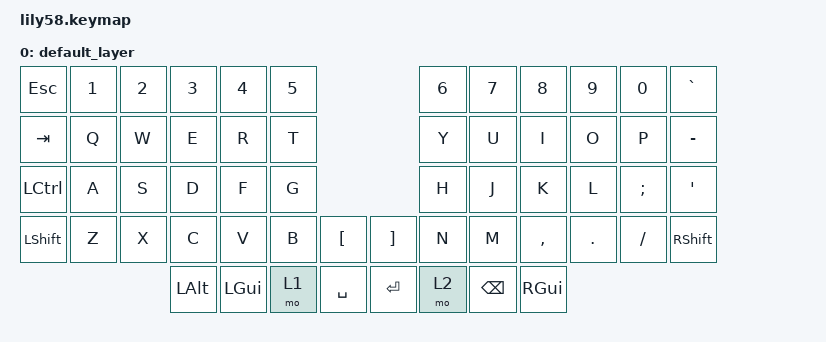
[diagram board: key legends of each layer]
/*
 * Copyright (c) 2020 The ZMK Contributors
 *
 * SPDX-License-Identifier: MIT
 */
// 키맵에디터 사용을위한 파일임. 수정하고 나서 boards-sheilds-lily58의 키맵 파일에 수동으로 업데이트해줄것

#include <dt-bindings/zmk/mouse.h>
#include <behaviors.dtsi>
#include <dt-bindings/zmk/bt.h>
#include <dt-bindings/zmk/keys.h>


/ {
    keymap {
        compatible = "zmk,keymap";

        default_layer {
// ------------------------------------------------------------------------------------------------------------
// |  ESC  |  1  |  2  |  3   |  4   |  5   |                   |  6   |  7    |  8    |  9   |   0   |   `   |
// |  TAB  |  Q  |  W  |  E   |  R   |  T   |                   |  Y   |  U    |  I    |  O   |   P   |   -   |
// |  CTRL |  A  |  S  |  D   |  F   |  G   |                   |  H   |  J    |  K    |  L   |   ;   |   '   |
// | SHIFT |  Z  |  X  |  C   |  V   |  B   |   "["  |  |  "]"  |  N   |  M    |  ,    |  .   |   /   | SHIFT |
//                     | ALT  | GUI  | LOWER|  SPACE |  | ENTER | RAISE| BSPC  | GUI   |
            bindings = <
&kp ESC   &kp N1 &kp N2 &kp N3   &kp N4   &kp N5                     &kp N6 &kp N7   &kp N8    &kp N9  &kp N0   &kp GRAVE
&kp TAB   &kp Q  &kp W  &kp E    &kp R    &kp T                      &kp Y  &kp U    &kp I     &kp O   &kp P    &kp MINUS
&kp LCTRL &kp A  &kp S  &kp D    &kp F    &kp G                      &kp H  &kp J    &kp K     &kp L   &kp SEMI &kp SQT
&kp LSHFT &kp Z  &kp X  &kp C    &kp V    &kp B  &kp LBKT   &kp RBKT &kp N  &kp M    &kp COMMA &kp DOT &kp FSLH &kp RSHFT
                        &kp LALT &kp LGUI &mo 1  &kp SPACE  &kp RET  &mo 2  &kp BSPC &kp RGUI
            >;


        };

    };
};
